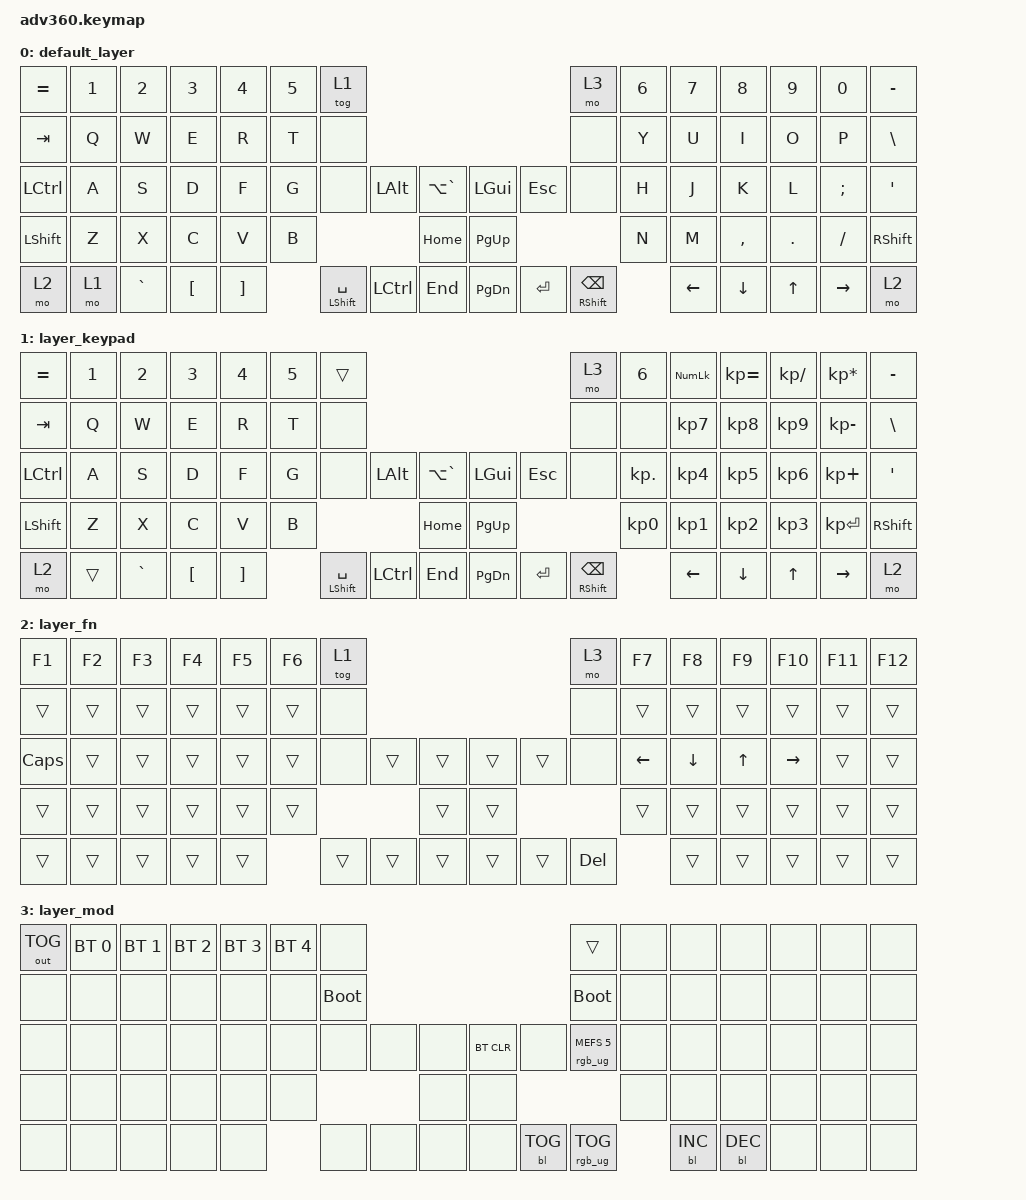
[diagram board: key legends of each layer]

/*
 * Copyright (c) 2020 The ZMK Contributors
 *
 * SPDX-License-Identifier: MIT
 */


/* THIS FILE WAS GENERATED!
 *
 * This file was generated automatically. You may or may not want to
 * edit it directly.
 */

#include <behaviors.dtsi>
#include <dt-bindings/zmk/keys.h>
#include <dt-bindings/zmk/outputs.h>
#include <dt-bindings/zmk/bt.h>
#include <dt-bindings/zmk/rgb.h>
#include <dt-bindings/zmk/backlight.h>

/ {
    behaviors {
      #include "macros.dtsi"
      #include "version.dtsi"
      #ifndef VERSION_MACRO
      macro_ver: macro_ver {
        compatible = "zmk,behavior-macro";
        label = "macro_version";
        #binding-cells = <0>;
        bindings = <&kp RET>;
      };
      #endif

    hm: homerow_mods {
        compatible = "zmk,behavior-hold-tap";
        label = "HOMEROW_MODS";
        #binding-cells = <2>;
        tapping-term-ms = <200>;
        quick_tap_ms = <175>;
        flavor = "tap-preferred";
        bindings = <&kp>, <&kp>;
    };

    rh: repeat_and_hold {
        compatible = "zmk,behavior-hold-tap";
        label = "REPEAT_AND_HOLD";
        #binding-cells = <2>;
        flavor = "tap-unless-interrupted";
        tapping-term-ms = <500>;
        quick-tap-ms = <125>;
        global-quick-tap;
        bindings = <&kp>, <&kp>;
    };
  };

    keymap {
        compatible = "zmk,keymap";


        default_layer {
            bindings = <    
            &kp EQUAL           &kp N1      &kp N2      &kp N3      &kp N4      &kp N5  &tog 1                                                                  &mo 3           &kp N6      &kp N7      &kp N8          &kp N9          &kp N0          &kp MINUS
            &kp TAB             &kp Q       &kp W       &kp E       &kp R       &kp T   &none                                                                   &none           &kp Y       &kp U       &kp I           &kp O           &kp P           &kp BSLH
            &kp LEFT_CONTROL    &kp A       &kp S       &kp D       &kp F       &kp G   &none           &kp LALT    &kp LA(GRAVE)       &kp LGUI    &kp ESC     &none           &kp H       &kp J       &kp K           &kp L           &kp SEMI        &kp SQT
            &kp LSHFT           &kp Z       &kp X       &kp C       &kp V       &kp B                               &kp HOME            &kp PG_UP                               &kp N       &kp M       &kp COMMA       &kp DOT         &kp FSLH        &kp RSHFT
            &mo 2               &mo 1       &kp GRAVE   &kp LBKT    &kp RBKT            &rh LSHFT SPACE &kp LCTRL   &kp END             &kp PG_DN   &kp ENTER   &rh RSHFT BSPC              &kp LEFT    &kp DOWN        &kp UP          &kp RIGHT       &mo 2
            >;
        };

        layer_keypad {
            bindings = <
            &kp EQUAL           &kp N1      &kp N2      &kp N3      &kp N4      &kp N5  &trans                                                                  &mo 3           &kp N6      &kp KP_NUM  &kp KP_EQUAL    &kp KP_DIVIDE   &kp KP_MULTIPLY &kp MINUS
            &kp TAB             &kp Q       &kp W       &kp E       &kp R       &kp T   &none                                                                   &none           &none       &kp KP_N7   &kp KP_N8       &kp KP_N9       &kp KP_MINUS    &kp BSLH
            &kp LEFT_CONTROL    &kp A       &kp S       &kp D       &kp F       &kp G   &none           &kp LALT    &kp LA(GRAVE)       &kp LGUI    &kp ESC     &none           &kp KP_DOT  &kp KP_N4   &kp KP_N5       &kp KP_N6       &kp KP_PLUS     &kp SQT
            &kp LSHFT           &kp Z       &kp X       &kp C       &kp V       &kp B                               &kp HOME            &kp PG_UP                               &kp KP_N0   &kp KP_N1   &kp KP_N2       &kp KP_N3       &kp KP_ENTER    &kp RSHFT
            &mo 2               &trans      &kp GRAVE   &kp LBKT    &kp RBKT            &rh LSHFT SPACE &kp LCTRL   &kp END             &kp PG_DN   &kp ENTER   &rh RSHFT BSPC              &kp LEFT    &kp DOWN        &kp UP          &kp RIGHT       &mo 2
            >;
        };

        layer_fn {
            bindings = <
            &kp F1              &kp F2      &kp F3      &kp F4      &kp F5      &kp F6  &tog 1                                                                  &mo 3           &kp F7      &kp F8      &kp F9          &kp F10         &kp F11         &kp F12
            &trans              &trans      &trans      &trans      &trans      &trans  &none                                                                   &none           &trans      &trans      &trans          &trans          &trans          &trans
            &kp CAPS            &trans      &trans      &trans      &trans      &trans  &none           &trans      &trans              &trans      &trans      &none           &kp LEFT    &kp DOWN    &kp UP_ARROW    &kp RIGHT       &trans          &trans
            &trans              &trans      &trans      &trans      &trans      &trans                              &trans              &trans                                  &trans      &trans      &trans          &trans          &trans          &trans
            &trans              &trans      &trans      &trans      &trans              &trans          &trans      &trans              &trans      &trans      &kp DEL                     &trans      &trans          &trans          &trans          &trans
            >;
        };

        layer_mod {
            bindings = <        
            &out OUT_TOG    &bt BT_SEL 0    &bt BT_SEL 1    &bt BT_SEL 2    &bt BT_SEL 3    &bt BT_SEL 4    &none                                                   &trans                  &none   &none       &none       &none   &none   &none
            &none           &none           &none           &none           &none           &none           &bootloader                                             &bootloader             &none   &none       &none       &none   &none   &none
            &none           &none           &none           &none           &none           &none           &none       &none   &none       &bt BT_CLR  &none       &rgb_ug RGB_MEFS_CMD 5  &none   &none       &none       &none   &none   &none
            &none           &none           &none           &none           &none           &none                               &none       &none                                           &none   &none       &none       &none   &none   &none
            &none           &none           &none           &none           &none                           &none       &none   &none       &none       &bl BL_TOG  &rgb_ug RGB_TOG                 &bl BL_INC  &bl BL_DEC  &none   &none   &none
            >;
        };

    };
};
